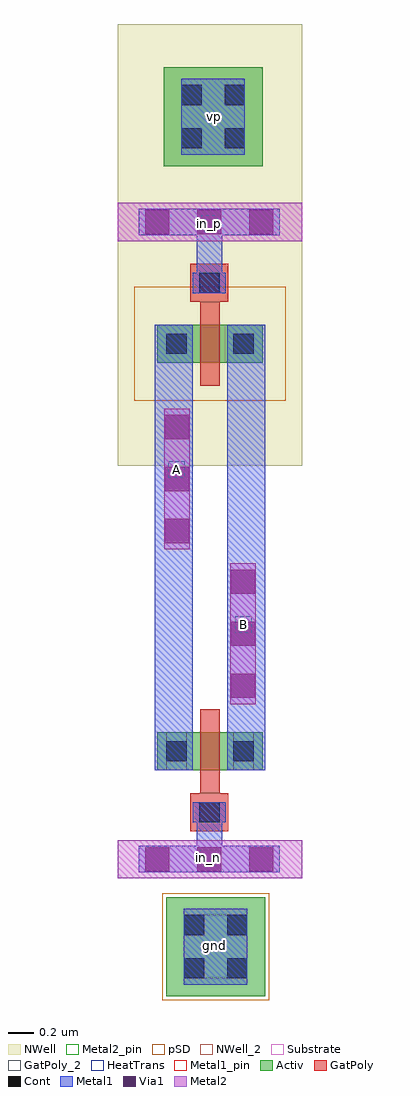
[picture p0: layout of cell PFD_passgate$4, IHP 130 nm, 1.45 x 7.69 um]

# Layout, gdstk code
import gdstk
lib = gdstk.Library(unit=1e-6, precision=1e-09)
def R(c, l, rs):  # rectangles x0, y0, x1, y1
    for r in rs: c.add(gdstk.rectangle(r[:2], r[2:], *l))
def A(c, l, x, y, w, h, nx, ny, dx, dy):  # array of equal rectangles
    R(c, l, [(x+i*dx, y+j*dy, x+i*dx+w, y+j*dy+h) for i in range(nx) for j in range(ny)])
Activ = (1, 0)
GatPoly = (5, 0)
GatPoly_2 = (5, 2)
Cont = (6, 0)
Metal1 = (8, 0)
Metal1_pin = (8, 2)
Metal2 = (10, 0)
Metal2_pin = (10, 2)
pSD = (14, 0)
Via1 = (19, 0)
NWell = (31, 0)
NWell_2 = (31, 2)
Substrate = (40, 0)
HeatTrans = (51, 0)

pmos_2_4 = lib.new_cell('pmos$2$4')
R(pmos_2_4, Activ, [(0,0,0.3,0.3), (0,0,0.83,0.3), (0.53,0,0.83,0.3)])
R(pmos_2_4, GatPoly, [(0.34,-0.18,0.49,0.48), (0.34,-0.18,0.49,0.48)])
R(pmos_2_4, Cont, [(0.07,0.07,0.23,0.23), (0.6,0.07,0.76,0.23)])
R(pmos_2_4, Metal1, [(0.07,0,0.23,0.3), (0.07,0,0.23,0.3), (0.6,0,0.76,0.3), (0.6,0,0.76,0.3)])
R(pmos_2_4, pSD, [(-0.18,-0.3,1.01,0.6)])
R(pmos_2_4, NWell, [(-0.31,-0.31,1.14,0.61)])
R(pmos_2_4, Substrate, [(0.53,0,0.83,0.3)])
R(pmos_2_4, HeatTrans, [(0.34,-0.18,0.49,0.48)])
pmos_2_4.add(gdstk.Label('pmos', (0.415,0.15), layer=63, texttype=0))
pmos_2_4.add(gdstk.Label('pmos', (0.415,0.15), layer=51, texttype=0))

nmos_2_4 = lib.new_cell('nmos$2$4')
R(nmos_2_4, Activ, [(0,0,0.3,0.3), (0,0,0.83,0.3), (0.53,0,0.83,0.3)])
R(nmos_2_4, GatPoly, [(0.34,-0.18,0.49,0.48)])
R(nmos_2_4, GatPoly_2, [(0.34,-0.18,0.49,0.48)])
R(nmos_2_4, Cont, [(0.07,0.07,0.23,0.23), (0.6,0.07,0.76,0.23)])
R(nmos_2_4, Metal1, [(0.07,0,0.23,0.3), (0.6,0,0.76,0.3)])
R(nmos_2_4, Metal1_pin, [(0.07,0,0.23,0.3), (0.6,0,0.76,0.3)])
R(nmos_2_4, HeatTrans, [(0.34,-0.18,0.49,0.48)])
nmos_2_4.add(gdstk.Label('nmos', (0.415,0.15), layer=63, texttype=0))
nmos_2_4.add(gdstk.Label('nmos', (0.415,0.15), layer=51, texttype=0))

ptap1_2_4 = lib.new_cell('ptap1$2$4')
R(ptap1_2_4, Activ, [(0,0,0.78,0.78)])
R(ptap1_2_4, Cont, [(0.14,0.14,0.3,0.3), (0.48,0.14,0.64,0.3), (0.14,0.48,0.3,0.64), (0.48,0.48,0.64,0.64)])
R(ptap1_2_4, Metal1, [(0.14,0.09,0.64,0.69), (0.14,0.14,0.64,0.64)])
R(ptap1_2_4, Metal1_pin, [(0.14,0.14,0.64,0.64)])
R(ptap1_2_4, pSD, [(-0.03,-0.03,0.81,0.81)])
R(ptap1_2_4, Substrate, [(0,0,0.78,0.78)])
ptap1_2_4.add(gdstk.Label('sub!', (0.39,0.01), layer=63, texttype=0))
ptap1_2_4.add(gdstk.Label('sub!', (0.39,0.01), layer=40, texttype=0))

ntap1_2_4 = lib.new_cell('ntap1$2$4')
R(ntap1_2_4, Activ, [(0,0,0.78,0.78)])
R(ntap1_2_4, Cont, [(0.14,0.14,0.3,0.3), (0.48,0.14,0.64,0.3), (0.14,0.48,0.3,0.64), (0.48,0.48,0.64,0.64)])
R(ntap1_2_4, Metal1, [(0.14,0.09,0.64,0.69)])
R(ntap1_2_4, Metal1_pin, [(0.14,0.09,0.64,0.69), (0.14,0.14,0.64,0.64)])
R(ntap1_2_4, NWell, [(-0.24,-0.24,1.02,1.02), (0,0,0.78,0.78)])
R(ntap1_2_4, NWell_2, [(0,0,0.78,0.78)])
ntap1_2_4.add(gdstk.Label('well', (0.39,0.01), layer=63, texttype=0))
ntap1_2_4.add(gdstk.Label('well', (0.39,0.01), layer=31, texttype=0))

via_10_4 = lib.new_cell('Via$10$4')
R(via_10_4, Metal1, [(-0.555,-0.105,0.555,0.105)])
R(via_10_4, Metal2, [(-0.555,-0.1,0.555,0.1)])
A(via_10_4, Via1, -0.505, -0.095, 0.19, 0.19, 3, 1, 0.41, 0)

via_5_2_4 = lib.new_cell('Via$5$2$4')
R(via_5_2_4, GatPoly, [(-0.15,-0.15,0.15,0.15)])
R(via_5_2_4, Cont, [(-0.08,-0.08,0.08,0.08)])
R(via_5_2_4, Metal1, [(-0.13,-0.08,0.13,0.08)])

via_3_5 = lib.new_cell('Via$3$5')
R(via_3_5, Metal1, [(-0.105,-0.555,0.105,0.555)])
R(via_3_5, Metal2, [(-0.1,-0.555,0.1,0.555)])
A(via_3_5, Via1, -0.095, -0.505, 0.19, 0.19, 1, 3, 0, 0.41)

pfd_passgate_4 = lib.new_cell('PFD_passgate$4')
R(pfd_passgate_4, Metal1_pin, [(-3.245,-4.395,-3.115,-4.265), (-3.245,2.135,-3.115,2.265)])
R(pfd_passgate_4, Metal2_pin, [(-3.295,-3.705,-3.165,-3.575), (-3.015,-1.865,-2.885,-1.735), (-3.545,-0.645,-3.415,-0.515), (-3.285,1.295,-3.155,1.425)])
R(pfd_passgate_4, NWell, [(-3.94,-0.55,-2.49,2.83), (-3.94,2.83,-2.49,2.93)])
pfd_passgate_4.add(gdstk.FlexPath([(-3.94,-3.65),(-2.49,-3.65)], 0.3, ends="flush", simple_path=True, layer=10, datatype=0))  # Metal2
pfd_passgate_4.add(gdstk.FlexPath([(-3.94,1.37),(-2.49,1.37)], 0.3, ends="flush", simple_path=True, layer=10, datatype=0))  # Metal2
pfd_passgate_4.add(gdstk.FlexPath([(-2.93,0.56),(-2.93,-2.95)], 0.3, ends="flush", simple_path=True, layer=8, datatype=0))  # Metal1
pfd_passgate_4.add(gdstk.FlexPath([(-3.5,0.56),(-3.5,-2.95)], 0.3, ends="flush", simple_path=True, layer=8, datatype=0))  # Metal1
pfd_passgate_4.add(gdstk.FlexPath([(-3.22,0.81),(-3.22,1.33)], 0.2, ends="flush", simple_path=True, layer=8, datatype=0))  # Metal1
pfd_passgate_4.add(gdstk.FlexPath([(-3.22,-3.72),(-3.22,-3.2)], 0.2, ends="flush", simple_path=True, layer=8, datatype=0))  # Metal1
pfd_passgate_4.add(gdstk.Reference(pmos_2_4, (-3.63,0.26)))
pfd_passgate_4.add(gdstk.Reference(nmos_2_4, (-3.63,-2.95)))
pfd_passgate_4.add(gdstk.Reference(ptap1_2_4, (-3.56,-4.73)))
pfd_passgate_4.add(gdstk.Reference(ntap1_2_4, (-3.58,1.81)))
pfd_passgate_4.add(gdstk.Reference(via_10_4, (-3.22,1.37)))
pfd_passgate_4.add(gdstk.Reference(via_5_2_4, (-3.22,0.89)))
pfd_passgate_4.add(gdstk.Reference(via_5_2_4, (-3.22,-3.28)))
pfd_passgate_4.add(gdstk.Reference(via_10_4, (-3.22,-3.65)))
pfd_passgate_4.add(gdstk.Reference(via_3_5, (-3.475,-0.655)))
pfd_passgate_4.add(gdstk.Reference(via_3_5, (-2.955,-1.875)))
pfd_passgate_4.add(gdstk.Label('A', (-3.48,-0.58), layer=10, texttype=25))
pfd_passgate_4.add(gdstk.Label('B', (-2.95,-1.8), layer=10, texttype=25))
pfd_passgate_4.add(gdstk.Label('in_p', (-3.22,1.36), layer=10, texttype=25))
pfd_passgate_4.add(gdstk.Label('in_n', (-3.23,-3.64), layer=10, texttype=25))
pfd_passgate_4.add(gdstk.Label('gnd', (-3.18,-4.33), layer=8, texttype=25))
pfd_passgate_4.add(gdstk.Label('vp', (-3.18,2.2), layer=8, texttype=25))

lib.write_gds('PFD_passgate_4.gds')
